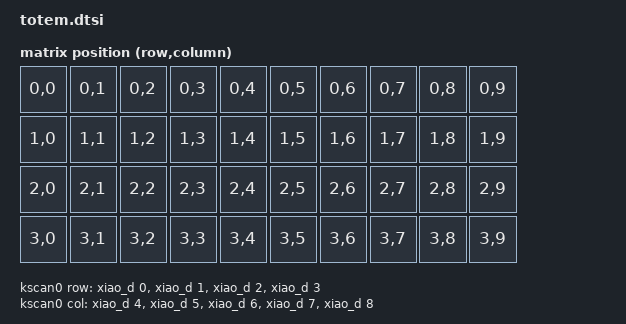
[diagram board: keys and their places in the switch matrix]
/*
 * Copyright (c) 2022 The ZMK Contributors
 *
 * SPDX-License-Identifier: MIT
 */

/ {
    chosen {
        zmk,kscan = &kscan0;
        zmk,matrix-transform = &default_transform; // Fixed: Changed underscore to hyphen
    };

    default_transform: keymap_transform_0 {
        compatible = "zmk,matrix-transform";
        columns = <10>;
        rows = <4>;

        map = <
RC(0,0) RC(0,1) RC(0,2) RC(0,3) RC(0,4)    RC(0,5) RC(0,6) RC(0,7) RC(0,8) RC(0,9)
RC(1,0) RC(1,1) RC(1,2) RC(1,3) RC(1,4)    RC(1,5) RC(1,6) RC(1,7) RC(1,8) RC(1,9)
RC(2,0) RC(2,1) RC(2,2) RC(2,3) RC(2,4)    RC(2,5) RC(2,6) RC(2,7) RC(2,8) RC(2,9) 
RC(3,0) RC(3,1) RC(3,2) RC(3,3) RC(3,4)    RC(3,5) RC(3,6) RC(3,7) RC(3,8) RC(3,9) // Fixed: Changed duplicate RC(3,9) to RC(3,8)
        >;
    };

    kscan0: kscan_0 {
        compatible = "zmk,kscan-gpio-matrix";
        label = "KSCAN";        
        diode-direction = "col2row";
 
        row-gpios
            = <&xiao_d 0 (GPIO_ACTIVE_HIGH | GPIO_PULL_DOWN)>
            , <&xiao_d 1 (GPIO_ACTIVE_HIGH | GPIO_PULL_DOWN)>
            , <&xiao_d 2 (GPIO_ACTIVE_HIGH | GPIO_PULL_DOWN)>
            , <&xiao_d 3 (GPIO_ACTIVE_HIGH | GPIO_PULL_DOWN)>
            ;
            
        col-gpios
            = <&xiao_d 4 GPIO_ACTIVE_HIGH>
            , <&xiao_d 5 GPIO_ACTIVE_HIGH>
            , <&xiao_d 6 GPIO_ACTIVE_HIGH>
            , <&xiao_d 7 GPIO_ACTIVE_HIGH>
            , <&xiao_d 8 GPIO_ACTIVE_HIGH>
            ;
    };
};

// USE THIS CORRECTED SECTION TO LOCATE THE POSITIONS NEEDED BY COMBOS
// Left Side Matrix Indices                Right Side Matrix Indices
// Row 0:   0   1   2   3   4              Row 0:   5   6   7   8   9
// Row 1:  10  11  12  13  14              Row 1:  15  16  17  18  19
// Row 2:  20  21  22  23  24              Row 2:  25  26  27  28  29
// Row 3:  30  31  32  33  34              Row 3:  35  36  37  38  39

